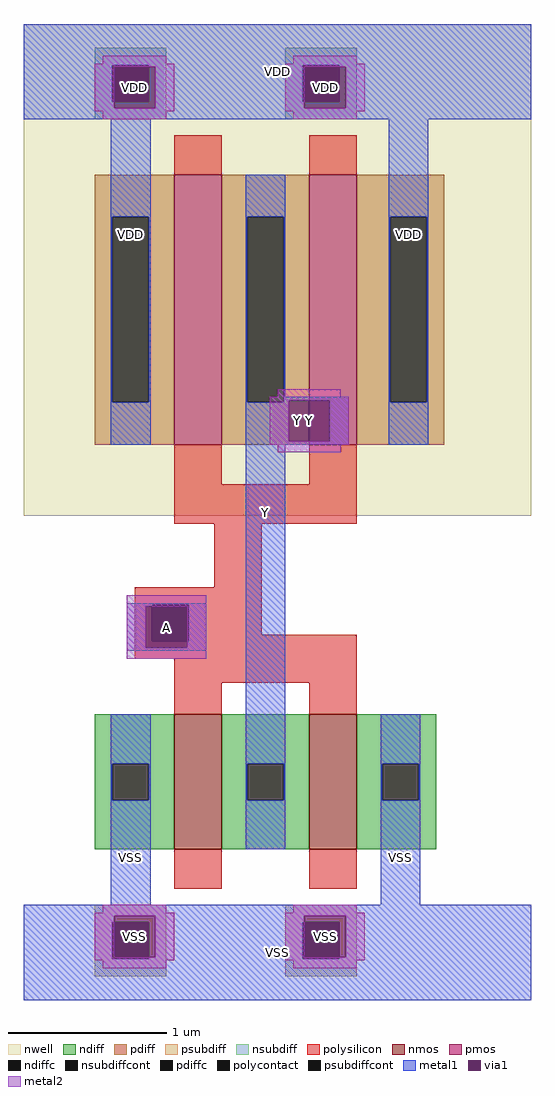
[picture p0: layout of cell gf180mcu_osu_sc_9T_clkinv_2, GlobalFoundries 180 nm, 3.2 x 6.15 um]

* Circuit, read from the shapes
.subckt gf180mcu_osu_sc_9T_clkinv_2 A Y VDD VSS
XM1 Y A VSS VSS nfet_03v3 w=0.85u l=0.3u m=2
XM2 Y A VDD VDD pfet_03v3 w=1.7u l=0.3u m=2
.ends

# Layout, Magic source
magic
tech gf180mcuA
magscale 1 10
<< nwell >>
rect 0 610 640 1230
<< nmos >>
rect 190 190 250 360
rect 360 190 420 360
<< pmos >>
rect 190 700 250 1040
rect 360 700 420 1040
<< ndiff >>
rect 90 298 190 360
rect 90 252 112 298
rect 158 252 190 298
rect 90 190 190 252
rect 250 298 360 360
rect 250 252 282 298
rect 328 252 360 298
rect 250 190 360 252
rect 420 298 520 360
rect 420 252 452 298
rect 498 252 520 298
rect 420 190 520 252
<< pdiff >>
rect 90 987 190 1040
rect 90 753 112 987
rect 158 753 190 987
rect 90 700 190 753
rect 250 987 360 1040
rect 250 753 282 987
rect 328 753 360 987
rect 250 700 360 753
rect 420 987 530 1040
rect 420 753 462 987
rect 508 753 530 987
rect 420 700 530 753
<< ndiffc >>
rect 112 252 158 298
rect 282 252 328 298
rect 452 252 498 298
<< pdiffc >>
rect 112 753 158 987
rect 282 753 328 987
rect 462 753 508 987
<< psubdiff >>
rect 90 98 180 120
rect 90 52 112 98
rect 158 52 180 98
rect 90 30 180 52
rect 330 98 420 120
rect 330 52 352 98
rect 398 52 420 98
rect 330 30 420 52
<< nsubdiff >>
rect 90 1178 180 1200
rect 90 1132 112 1178
rect 158 1132 180 1178
rect 90 1110 180 1132
rect 330 1178 420 1200
rect 330 1132 352 1178
rect 398 1132 420 1178
rect 330 1110 420 1132
<< psubdiffcont >>
rect 112 52 158 98
rect 352 52 398 98
<< nsubdiffcont >>
rect 112 1132 158 1178
rect 352 1132 398 1178
<< polysilicon >>
rect 190 1040 250 1090
rect 360 1040 420 1090
rect 190 650 250 700
rect 360 650 420 700
rect 190 600 420 650
rect 240 520 300 600
rect 140 498 300 520
rect 140 452 162 498
rect 208 460 300 498
rect 208 452 420 460
rect 140 430 420 452
rect 190 400 420 430
rect 190 360 250 400
rect 360 360 420 400
rect 190 140 250 190
rect 360 140 420 190
<< polycontact >>
rect 162 452 208 498
<< metal1 >>
rect 0 1178 640 1230
rect 0 1132 112 1178
rect 158 1176 352 1178
rect 398 1176 640 1178
rect 166 1132 352 1176
rect 0 1124 114 1132
rect 166 1124 354 1132
rect 406 1124 640 1176
rect 0 1110 640 1124
rect 110 987 160 1110
rect 110 753 112 987
rect 158 753 160 987
rect 110 700 160 753
rect 280 987 330 1040
rect 280 753 282 987
rect 328 760 330 987
rect 460 987 510 1110
rect 328 756 410 760
rect 328 753 334 756
rect 280 704 334 753
rect 386 704 410 756
rect 280 700 410 704
rect 460 753 462 987
rect 508 753 510 987
rect 460 700 510 753
rect 130 498 230 500
rect 130 496 162 498
rect 130 444 154 496
rect 208 452 230 498
rect 206 444 230 452
rect 130 440 230 444
rect 110 298 160 360
rect 110 252 112 298
rect 158 252 160 298
rect 110 120 160 252
rect 280 298 330 700
rect 280 252 282 298
rect 328 252 330 298
rect 280 190 330 252
rect 450 298 500 360
rect 450 252 452 298
rect 498 252 500 298
rect 450 120 500 252
rect 0 106 640 120
rect 0 98 114 106
rect 166 98 354 106
rect 0 52 112 98
rect 166 54 352 98
rect 406 54 640 106
rect 158 52 352 54
rect 398 52 640 54
rect 0 0 640 52
<< via1 >>
rect 114 1132 158 1176
rect 158 1132 166 1176
rect 354 1132 398 1176
rect 398 1132 406 1176
rect 114 1124 166 1132
rect 354 1124 406 1132
rect 334 704 386 756
rect 154 452 162 496
rect 162 452 206 496
rect 154 444 206 452
rect 114 98 166 106
rect 354 98 406 106
rect 114 54 158 98
rect 158 54 166 98
rect 354 54 398 98
rect 398 54 406 98
<< metal2 >>
rect 100 1180 180 1190
rect 340 1180 420 1190
rect 90 1176 190 1180
rect 90 1124 114 1176
rect 166 1124 190 1176
rect 90 1120 190 1124
rect 330 1176 430 1180
rect 330 1124 354 1176
rect 406 1124 430 1176
rect 330 1120 430 1124
rect 100 1110 180 1120
rect 340 1110 420 1120
rect 320 760 400 770
rect 310 756 410 760
rect 310 704 334 756
rect 386 704 410 756
rect 310 700 410 704
rect 320 690 400 700
rect 130 496 230 510
rect 130 444 154 496
rect 206 444 230 496
rect 130 430 230 444
rect 100 110 180 120
rect 340 110 420 120
rect 90 106 190 110
rect 90 54 114 106
rect 166 54 190 106
rect 90 50 190 54
rect 330 106 430 110
rect 330 54 354 106
rect 406 54 430 106
rect 330 50 430 54
rect 100 40 180 50
rect 340 40 420 50
<< labels >>
rlabel metal2 s 100 1110 180 1190 4 VDD
port 6 nsew power bidirectional abutment
rlabel metal2 s 100 40 180 120 4 VSS
port 7 nsew ground bidirectional
rlabel metal2 s 130 430 230 510 4 A
port 1 nsew signal input
rlabel metal2 s 320 690 400 770 4 Y
port 2 nsew signal output
rlabel metal1 s 130 440 230 500 1 A
port 1 nsew signal input
rlabel metal2 s 90 1120 190 1180 1 VDD
port 6 nsew power bidirectional abutment
rlabel metal2 s 340 1110 420 1190 1 VDD
port 6 nsew power bidirectional abutment
rlabel metal2 s 330 1120 430 1180 1 VDD
port 6 nsew power bidirectional abutment
rlabel metal1 s 110 700 160 1230 1 VDD
port 6 nsew power bidirectional abutment
rlabel metal1 s 460 700 510 1230 1 VDD
port 6 nsew power bidirectional abutment
rlabel metal1 s 0 1110 640 1230 1 VDD
port 6 nsew power bidirectional abutment
rlabel metal2 s 90 50 190 110 1 VSS
port 7 nsew ground bidirectional
rlabel metal2 s 340 40 420 120 1 VSS
port 7 nsew ground bidirectional
rlabel metal2 s 330 50 430 110 1 VSS
port 7 nsew ground bidirectional
rlabel metal1 s 110 0 160 360 1 VSS
port 7 nsew ground bidirectional
rlabel metal1 s 450 0 500 360 1 VSS
port 7 nsew ground bidirectional
rlabel metal1 s 0 0 640 120 1 VSS
port 7 nsew ground bidirectional
rlabel metal2 s 310 700 410 760 1 Y
port 2 nsew signal output
rlabel metal1 s 280 190 330 1040 1 Y
port 2 nsew signal output
rlabel metal1 s 280 700 410 760 1 Y
port 2 nsew signal output
<< properties >>
string FIXED_BBOX 0 0 640 1230
string GDS_END 179234
string GDS_FILE $PDKPATH/libs.ref/gf180mcu_osu_sc_9T/gds/gf180mcu_osu_sc_9T.gds
string GDS_START 174146
string LEFclass CORE
string LEFsite GF018hv5v_mcu_sc7
string LEFsymmetry X Y
<< end >>
